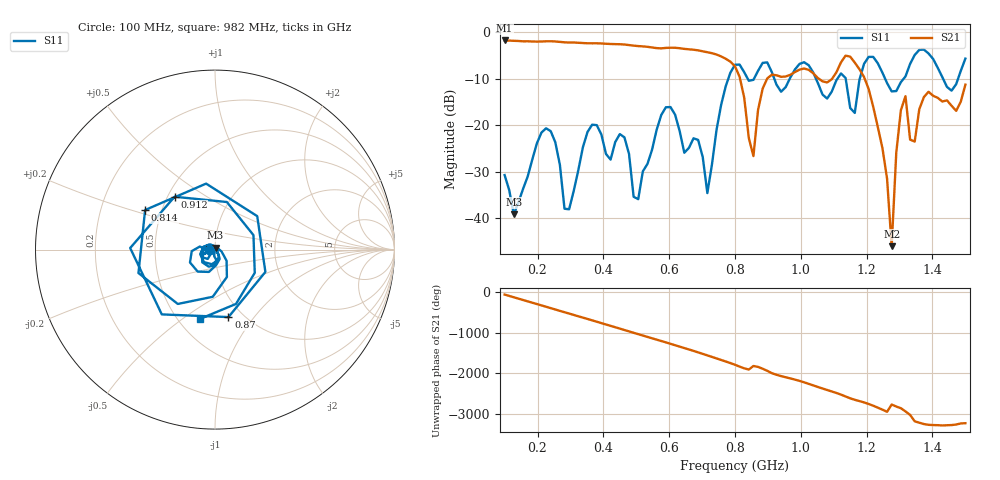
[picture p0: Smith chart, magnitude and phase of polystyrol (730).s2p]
! NanoVNA-App
! Date: 2025-09-25 15:35:34
! Start: 100MHz Stop: 1,5GHz Points: 101
! S-Parameter data: F S11 S21 S12 S22
# Hz S RI R 50
!  Frequency  S11_Real  S11_Imag  S21_Real  S21_Imag  S12_Real  S12_Imag  S22_Real  S22_Imag
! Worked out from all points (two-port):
!   101 points, 100 MHz to 1.5 GHz, reference 50 ohm
!   highest |S21| = -1.80 dB at 100 MHz (marker M1); lowest = -46.0 dB at 1.276 GHz (marker M2)
!   |S21| within 3 dB of the highest: start of sweep to 742.8 MHz
!   lowest |S11| = -39.1 dB at 128 MHz (marker M3), VSWR 1.02, Z = 50.3 + j1.06 ohm
!   |S11| at or under -10 dB: start of sweep to 779.7 MHz; 1.046 GHz to 1.111 GHz (65.39 MHz wide, 6.06 % of centre); 1.256 GHz to 1.313 GHz (56.58 MHz wide, 4.41 % of centre)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
!   S12 and S22 are empty: the file has one direction only
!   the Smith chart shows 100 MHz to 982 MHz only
!   S11 on the Smith chart (normalised r, x): 100 MHz: 0.94, -0.01; 814 MHz: 0.40, +0.22; 870 MHz: 0.86, -0.75; 912 MHz: 0.54, +0.37; 982 MHz: 0.63, -0.58
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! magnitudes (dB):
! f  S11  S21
! 100 MHz  -30.7  -1.8
! 128 MHz  -39.1  -1.9
! 212 MHz  -21.6  -2.0
! 282 MHz  -37.9  -2.2
! 338 MHz  -24.7  -2.4
! 464 MHz  -22.6  -2.7
! 506 MHz  -35.9  -3.0
! 576 MHz  -17.8  -3.5
! 716 MHz  -34.6  -4.3
! 800 MHz  -7.0  -7.4
! 814 MHz  -7.0  -9.6
! 856 MHz  -10.3  -26.6
! 870 MHz  -8.3  -16.7
! 912 MHz  -8.6  -9.2
! 982 MHz  -8.0  -8.6
! 1.038 GHz  -8.7  -8.9
! 1.164 GHz  -17.4  -6.6
! 1.192 GHz  -6.8  -9.6
! 1.276 GHz  -12.7  -46.0
! 1.318 GHz  -9.5  -13.8
! 1.346 GHz  -4.9  -23.5
! 1.5 GHz  -5.7  -11.3
